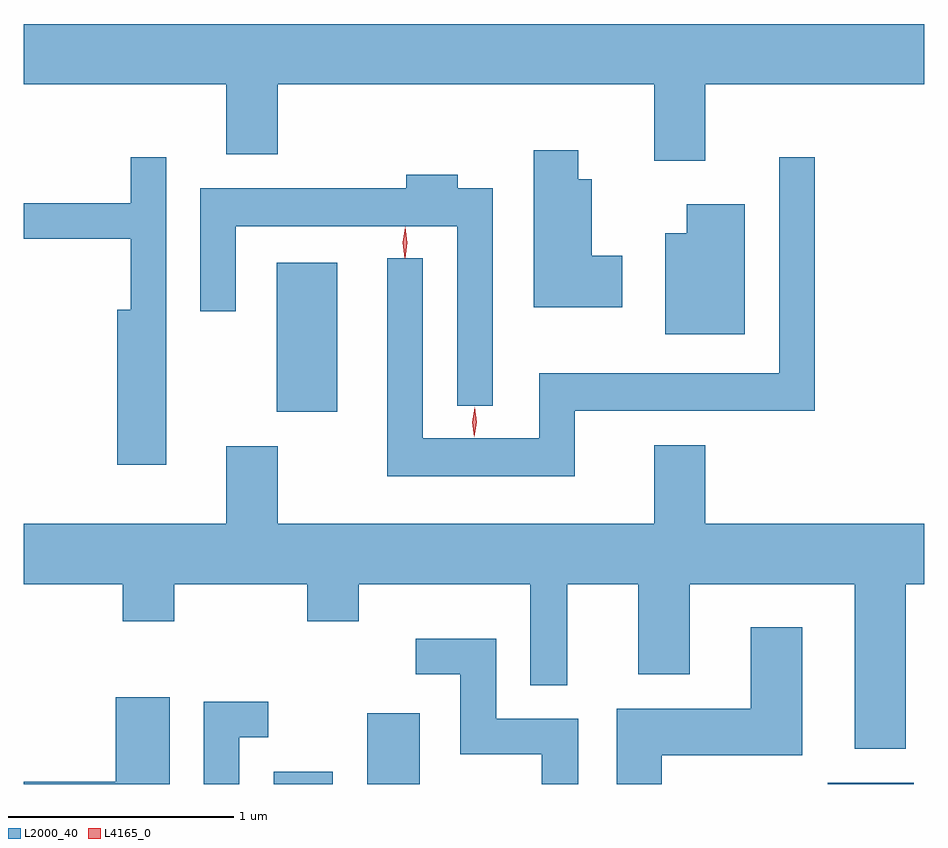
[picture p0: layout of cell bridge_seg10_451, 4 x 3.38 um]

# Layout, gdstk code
import gdstk
lib = gdstk.Library(unit=1e-6, precision=1e-09)
def R(c, l, rs):  # rectangles x0, y0, x1, y1
    for r in rs: c.add(gdstk.rectangle(r[:2], r[2:], *l))
def P(c, l, *ps):  # polygons
    for p in ps: c.add(gdstk.Polygon(p, *l))
L2000_40 = (2000, 40)
L4165_0 = (4165, 0)

bridge_seg10_451 = lib.new_cell('bridge_seg10_451')
R(bridge_seg10_451, L2000_40, [(1443.651,2126.349,1443.914,2126.404), (1444.066,2126.349,1444.299,2126.664), (1446.111,2126.349,1446.494,2126.354), (1443.666,2128.001,1443.934,2128.664)])
P(bridge_seg10_451, L2000_40, [(1445.569,2129.456),(1446.541,2129.456),(1446.541,2129.724),(1442.541,2129.724),(1442.541,2129.456),(1443.441,2129.456),(1443.441,2129.146),(1443.669,2129.146),(1443.669,2129.456),(1445.341,2129.456),(1445.341,2129.116),(1445.569,2129.116)],
  [(1445.199,2128.694),(1445.064,2128.694),(1445.064,2129.034),(1445.004,2129.034),(1445.004,2129.164),(1444.806,2129.164),(1444.806,2128.466),(1445.199,2128.466)],
  [(1444.989,2128.006),(1446.054,2128.006),(1446.054,2129.133),(1445.896,2129.133),(1445.896,2128.174),(1444.831,2128.174),(1444.831,2127.884),(1444.314,2127.884),(1444.314,2128.683),(1444.156,2128.683),(1444.156,2127.716),(1444.989,2127.716)],
  [(1443.174,2129.133),(1443.016,2129.133),(1443.016,2128.929),(1442.541,2128.929),(1442.541,2128.771),(1443.016,2128.771),(1443.016,2128.454),(1442.956,2128.454),(1442.956,2127.766),(1443.174,2127.766)],
  [(1444.624,2128.994),(1444.469,2128.994),(1444.469,2129.054),(1444.241,2129.054),(1444.241,2128.994),(1443.326,2128.994),(1443.326,2128.448),(1443.484,2128.448),(1443.484,2128.826),(1444.466,2128.826),(1444.466,2128.028),(1444.624,2128.028)],
  [(1445.744,2128.924),(1445.486,2128.924),(1445.486,2128.794),(1445.391,2128.794),(1445.391,2128.346),(1445.744,2128.346)],
  [(1446.459,2127.236),(1446.541,2127.236),(1446.541,2127.504),(1445.569,2127.504),(1445.569,2127.854),(1445.341,2127.854),(1445.341,2127.504),(1443.669,2127.504),(1443.669,2127.849),(1443.441,2127.849),(1443.441,2127.504),(1442.541,2127.504),(1442.541,2127.236),(1442.981,2127.236),(1442.981,2127.071),(1443.209,2127.071),(1443.209,2127.236),(1443.801,2127.236),(1443.801,2127.071),(1444.029,2127.071),(1444.029,2127.236),(1444.791,2127.236),(1444.791,2126.788),(1444.954,2126.788),(1444.954,2127.236),(1445.271,2127.236),(1445.271,2126.836),(1445.499,2126.836),(1445.499,2127.236),(1446.231,2127.236),(1446.231,2126.506),(1446.459,2126.506)],
  [(1445.374,2126.476),(1445.999,2126.476),(1445.999,2127.044),(1445.771,2127.044),(1445.771,2126.684),(1445.176,2126.684),(1445.176,2126.349),(1445.374,2126.349)],
  [(1445.004,2126.639),(1444.639,2126.639),(1444.639,2126.994),(1444.283,2126.994),(1444.283,2126.836),(1444.481,2126.836),(1444.481,2126.481),(1444.841,2126.481),(1444.841,2126.349),(1445.004,2126.349)],
  [(1443.189,2126.734),(1442.951,2126.734),(1442.951,2126.359),(1442.541,2126.359),(1442.541,2126.349),(1443.189,2126.349)],
  [(1443.499,2126.556),(1443.628,2126.556),(1443.628,2126.714),(1443.341,2126.714),(1443.341,2126.349),(1443.499,2126.349)])
P(bridge_seg10_451, L4165_0, [(1444.234,2128.684),(1444.225,2128.753),(1444.235,2128.822),(1444.235,2128.823),(1444.236,2128.822),(1444.245,2128.753),(1444.235,2128.684),(1444.235,2128.684)],
  [(1444.542,2127.89),(1444.534,2127.956),(1444.544,2128.022),(1444.545,2128.023),(1444.545,2128.022),(1444.554,2127.956),(1444.543,2127.89),(1444.543,2127.89)])

lib.write_gds('bridge_seg10_451.gds')
